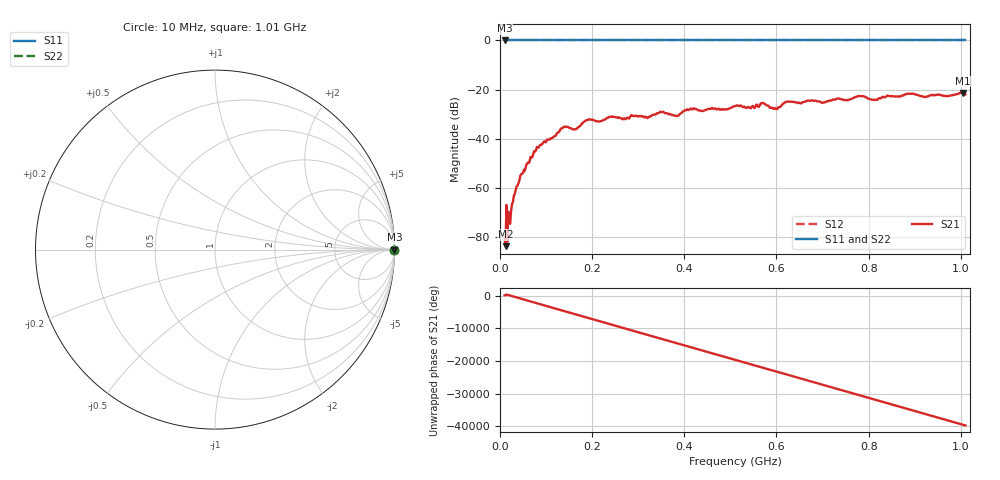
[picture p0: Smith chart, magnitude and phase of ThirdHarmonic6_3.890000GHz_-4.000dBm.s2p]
! 8/17/2025 1:39:29 PM
! C:\ANRITSUVNA\TEMP\TEMP.S2P
! CHANNEL.1
! TR.MEASUREMENT
! RAW.DATA
! RF.CORRECTION.OFF
! AVERAGING.OFF
! IF.BANDWIDTH: 5KHZ
! SWEEPTYPE:  FREQ.SWEEP(Linear)
! Reference Plane Port Info
! PORT:  PORT1  PORT2
! DISTANCE:  0  m  0  m
! TIME:  0  s  0  s
! PHASE.OFFSET:  0  deg.  0  deg.
! LOSS:  0  dB  0  dB
! REF.LOSS:  0  dB  0  dB
! REF.FREQ:  0  Hz  0  Hz
! Power Info
! POWER:  -20  dBm  -20  dBm
! EFF.POWER:  -20  dBm  -20  dBm
! SOURCE.ATTEN:  0  dB  0  dB
! TEST.ATTEN:  0  dB  0  dB
# GHZ S RI R 50.0
! FREQ.GHZ  S11RE  S11IM  S21RE  S21IM  S12RE  S12IM  S22RE  S22IM
!; PortSelection: Port_12
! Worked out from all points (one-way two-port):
!   501 points, 10 MHz to 1.01 GHz, reference 50 ohm
!   highest |S21| = -21.32 dB at 1.004 GHz (marker M1); lowest = -83.7 dB at 12 MHz (marker M2)
!   lowest |S11| = 0.0 dB at 10 MHz (marker M3)
!   |S11| at or under -10 dB: nowhere
!   |S22| runs from 0.0 to 0.0 dB; largest |S21 - S12| = 1.1
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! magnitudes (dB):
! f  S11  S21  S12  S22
! 10 MHz  0.0  -80.6  0.0  0.0
! 12 MHz  0.0  -83.7  0.0  0.0
! 18 MHz  0.0  -69.7  0.0  0.0
! 20 MHz  0.0  -72.8  0.0  0.0
! 30 MHz  0.0  -63.3  0.0  0.0
! 40 MHz  0.0  -58.2  0.0  0.0
! 76 MHz  0.0  -45.2  0.0  0.0
! 136 MHz  0.0  -35.6  0.0  0.0
! 162 MHz  0.0  -36.2  0.0  0.0
! 178 MHz  0.0  -33.8  0.0  0.0
! 192 MHz  0.0  -32.3  0.0  0.0
! 344 MHz  0.0  -29.6  0.0  0.0
! 384 MHz  0.0  -30.7  0.0  0.0
! 410 MHz  0.0  -28.3  0.0  0.0
! 510 MHz  0.0  -26.7  0.0  0.0
! 570 MHz  0.0  -25.4  0.0  0.0
! 598 MHz  0.0  -27.7  0.0  0.0
! 622 MHz  0.0  -25.0  0.0  0.0
! 678 MHz  0.0  -24.4  0.0  0.0
! 844 MHz  0.0  -22.6  0.0  0.0
! 1.004 GHz  0.0  -21.3  0.0  0.0
! 1.01 GHz  0.0  -21.9  0.0  0.0
